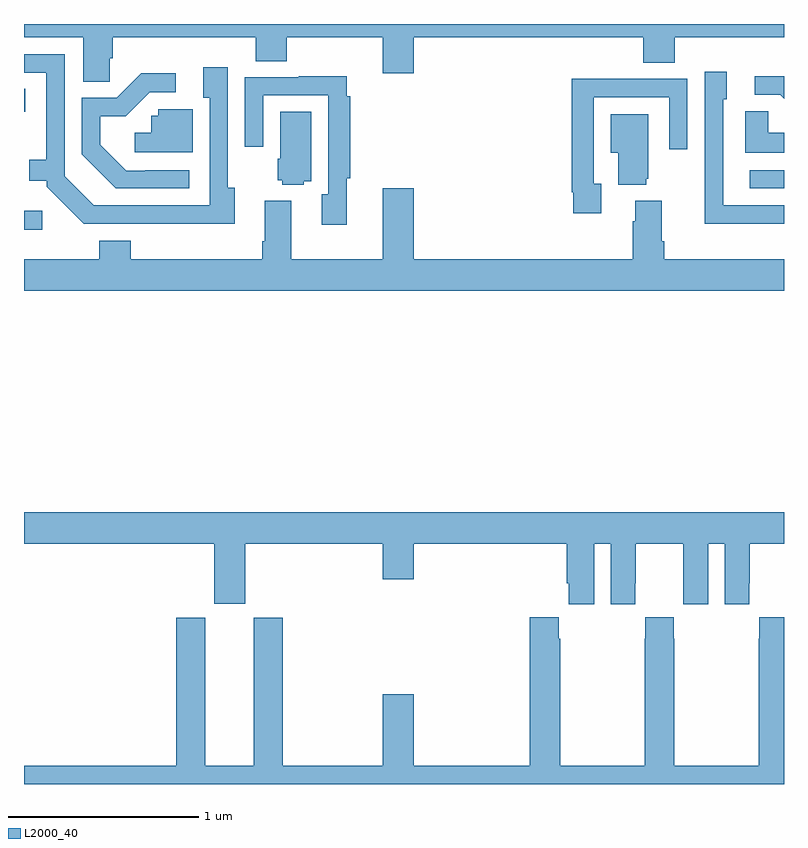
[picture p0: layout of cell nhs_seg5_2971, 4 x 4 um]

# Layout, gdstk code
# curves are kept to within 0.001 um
import gdstk
lib = gdstk.Library(unit=1e-6, precision=1e-09)
def R(c, l, rs):  # rectangles x0, y0, x1, y1
    for r in rs: c.add(gdstk.rectangle(r[:2], r[2:], *l))
def P(c, l, *ps):  # polygons
    for p in ps: c.add(gdstk.Polygon(p, *l))
L2000_40 = (2000, 40)

nhs_seg5_2971 = lib.new_cell('nhs_seg5_2971')
R(nhs_seg5_2971, L2000_40, [(283,887.717,283.096,887.815), (286.821,887.934,287,888.03), (283,888.337,283.006,888.458)])
P(nhs_seg5_2971, L2000_40, [(283.451,888.618),(283.466,888.618),(283.466,888.728),(284.219,888.728),(284.219,888.604),(284.384,888.604),(284.384,888.728),(284.888,888.728),(284.888,888.54),(285.052,888.54),(285.052,888.728),(286.259,888.728),(286.259,888.595),(286.424,888.595),(286.424,888.728),(287,888.728),(287,888.799),(283,888.799),(283,888.728),(283.313,888.728),(283.313,888.496),(283.451,888.496)],
  [(284.11,887.938),(284.073,887.938),(284.073,888.571),(283.943,888.571),(283.943,888.41),(283.977,888.41),(283.977,887.844),(283.368,887.844),(283.215,887.997),(283.215,888.639),(283,888.639),(283,888.543),(283.118,888.543),(283.118,888.085),(283.027,888.085),(283.027,887.975),(283.119,887.975),(283.119,887.943),(283.314,887.748),(284.11,887.747)],
  [(287,887.844),(286.68,887.844),(286.68,888.402),(286.699,888.402),(286.699,888.547),(286.584,888.547),(286.584,888.053),(286.582,888.053),(286.582,887.747),(287,887.747)],
  [(283.87,888.03),(283.639,888.03),(283.639,888.027),(283.539,888.027),(283.402,888.164),(283.402,888.314),(283.535,888.314),(283.662,888.441),(283.798,888.441),(283.798,888.539),(283.616,888.539),(283.488,888.411),(283.305,888.411),(283.305,888.113),(283.484,887.934),(283.87,887.934)],
  [(287,888.524),(286.845,888.524),(286.845,888.426),(286.979,888.426),(287,888.405)],
  [(284.699,887.986),(284.717,887.986),(284.717,888.419),(284.699,888.419),(284.699,888.523),(284.447,888.523),(284.447,888.519),(284.163,888.519),(284.163,888.153),(284.259,888.153),(284.259,888.423),(284.601,888.423),(284.601,887.903),(284.567,887.903),(284.567,887.742),(284.699,887.742)],
  [(286.039,887.958),(285.999,887.958),(285.999,888.414),(286.395,888.414),(286.395,888.141),(286.491,888.141),(286.491,888.51),(286.175,888.51),(286.175,888.512),(285.883,888.512),(285.883,887.914),(285.891,887.914),(285.891,887.802),(286.039,887.802)],
  [(283.888,888.351),(283.707,888.351),(283.707,888.315),(283.671,888.315),(283.671,888.226),(283.584,888.226),(283.584,888.123),(283.888,888.123)],
  [(287,888.226),(286.917,888.226),(286.917,888.341),(286.796,888.341),(286.796,888.122),(287,888.122)],
  [(284.472,887.972),(284.512,887.972),(284.512,888.338),(284.348,888.338),(284.348,888.09),(284.336,888.09),(284.336,887.976),(284.358,887.976),(284.358,887.954),(284.472,887.954)],
  [(286.274,887.985),(286.285,887.985),(286.285,888.325),(286.088,888.325),(286.088,888.122),(286.127,888.122),(286.127,887.954),(286.274,887.954)],
  [(287,887.56),(286.37,887.56),(286.37,887.656),(286.357,887.656),(286.357,887.869),(286.217,887.869),(286.217,887.762),(286.205,887.762),(286.205,887.56),(285.052,887.56),(285.052,887.935),(284.888,887.935),(284.888,887.56),(284.407,887.56),(284.407,887.869),(284.267,887.869),(284.267,887.656),(284.255,887.656),(284.255,887.56),(283.562,887.56),(283.562,887.659),(283.397,887.659),(283.397,887.56),(283,887.56),(283,887.396),(287,887.396)],
  [(286,886.064),(286.088,886.064),(286.088,885.744),(286.218,885.744),(286.218,885.856),(286.219,885.856),(286.219,886.064),(286.469,886.064),(286.469,885.856),(286.47,885.856),(286.47,885.744),(286.6,885.744),(286.6,886.064),(286.688,886.064),(286.688,885.744),(286.818,885.744),(286.818,885.856),(286.819,885.856),(286.819,886.064),(287,886.064),(287,886.228),(283,886.228),(283,886.064),(284,886.064),(284,885.747),(284.164,885.747),(284.164,886.064),(284.888,886.064),(284.888,885.876),(285.052,885.876),(285.052,886.064),(285.857,886.064),(285.857,885.856),(285.866,885.856),(285.866,885.744),(286,885.744)],
  [(287,885.676),(286.869,885.676),(286.869,885.563),(286.867,885.563),(286.867,884.896),(286.422,884.896),(286.422,885.563),(286.419,885.563),(286.419,885.676),(286.269,885.676),(286.269,885.563),(286.267,885.563),(286.267,884.896),(285.822,884.896),(285.822,885.563),(285.815,885.563),(285.815,885.676),(285.662,885.676),(285.662,884.896),(285.052,884.896),(285.052,885.271),(284.888,885.271),(284.888,884.896),(284.363,884.896),(284.363,885.675),(284.21,885.675),(284.21,884.896),(283.954,884.896),(283.954,885.675),(283.802,885.675),(283.802,884.896),(283,884.896),(283,884.799),(287,884.799)])

lib.write_gds('nhs_seg5_2971.gds')
